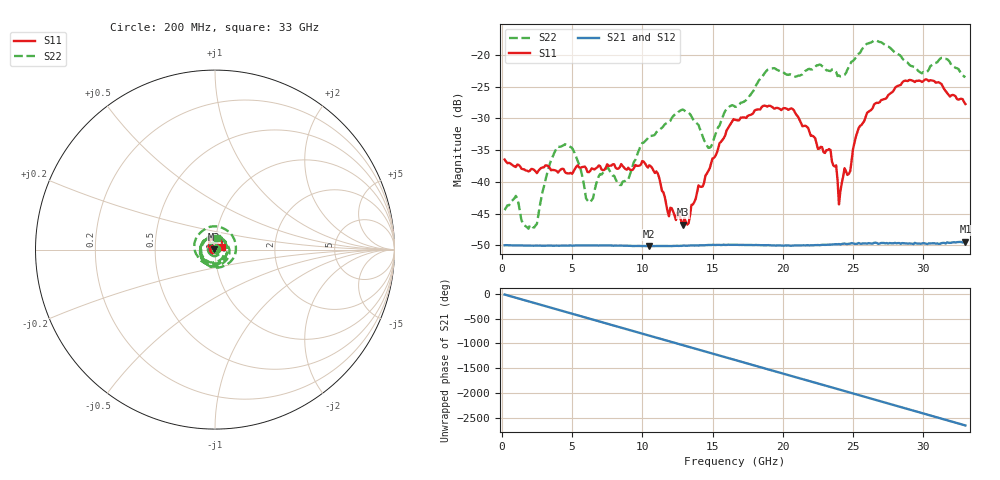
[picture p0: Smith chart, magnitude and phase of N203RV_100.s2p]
# GHZ S RI R 50
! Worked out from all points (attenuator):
!   329 points, 200 MHz to 33 GHz, reference 50 ohm
!   highest |S21| = -49.42 dB at 33 GHz (marker M1); lowest = -50.1 dB at 10.5 GHz (marker M2)
!   lowest |S11| = -46.7 dB at 12.9 GHz (marker M3), VSWR 1.01, Z = 49.6 + j0.134 ohm
!   |S11| at or under -10 dB: start of sweep to end of sweep
!   |S22| runs from -47.4 to -17.7 dB; largest |S21 - S12| = 7.2e-05
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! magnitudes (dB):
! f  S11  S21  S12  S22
! 200 MHz  -36.5  -50.0  -50.0  -44.4
! 1 GHz  -37.6  -50.0  -50.0  -42.2
! 2.3 GHz  -38.1  -50.0  -50.0  -47.2
! 4 GHz  -38.5  -50.1  -50.0  -34.4
! 5.7 GHz  -37.7  -50.0  -50.0  -38.8
! 6.2 GHz  -38.5  -50.0  -50.0  -43.2
! 7.5 GHz  -37.2  -50.0  -50.0  -37.7
! 8.5 GHz  -37.2  -50.0  -50.0  -40.5
! 10.5 GHz  -37.4  -50.1  -50.1  -32.8
! 11.2 GHz  -39.3  -50.1  -50.1  -31.9
! 12.9 GHz  -46.7  -50.0  -50.0  -28.6
! 14.7 GHz  -38.3  -49.9  -49.9  -34.6
! 16.6 GHz  -30.2  -49.9  -49.9  -28.2
! 20.6 GHz  -28.4  -50.1  -50.0  -23.1
! 22.1 GHz  -32.7  -50.0  -49.9  -22.3
! 23.4 GHz  -35.0  -49.9  -49.8  -22.5
! 23.8 GHz  -37.4  -49.8  -49.8  -22.7
! 24 GHz  -43.5  -49.8  -49.8  -23.2
! 25.4 GHz  -31.5  -49.6  -49.7  -19.8
! 27.6 GHz  -26.1  -49.6  -49.7  -18.8
! 30.2 GHz  -23.8  -49.7  -49.7  -22.7
! 33 GHz  -27.7  -49.4  -49.4  -23.5
